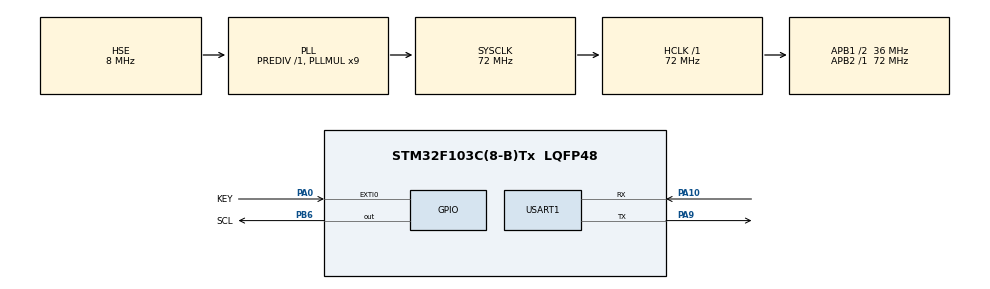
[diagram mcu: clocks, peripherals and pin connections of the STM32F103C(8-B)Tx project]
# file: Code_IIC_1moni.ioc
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Mcu.Family=STM32F1
Mcu.Name=STM32F103C(8-B)Tx
Mcu.Package=LQFP48
NVIC.EXTI0_IRQn=true\:1\:0\:true\:true\:true\:1\:true\:true
NVIC.PriorityGroup=NVIC_PRIORITYGROUP_4
NVIC.USART1_IRQn=true\:0\:0\:false\:true\:true\:2\:true\:true
PA0-WKUP.GPIO_Label=KEY
PA0-WKUP.Signal=GPXTI0
PA10.Mode=Asynchronous
PA10.Signal=USART1_RX
PA9.Mode=Asynchronous
PA9.Signal=USART1_TX
PB6.GPIO_Label=SCL
PB6.GPIO_Speed=GPIO_SPEED_FREQ_HIGH
PB6.Signal=GPIO_Output
PD0-OSC_IN.Mode=HSE-External-Oscillator
PD0-OSC_IN.Signal=RCC_OSC_IN
PD1-OSC_OUT.Mode=HSE-External-Oscillator
PD1-OSC_OUT.Signal=RCC_OSC_OUT
ProjectManager.HeapSize=0x200
ProjectManager.StackSize=0x400
ProjectManager.TargetToolchain=MDK-ARM V5.32
RCC.AHBFreq_Value=72000000
RCC.APB1CLKDivider=RCC_HCLK_DIV2
RCC.APB1Freq_Value=36000000
RCC.APB1TimFreq_Value=72000000
RCC.APB2Freq_Value=72000000
RCC.APB2TimFreq_Value=72000000
RCC.HCLKFreq_Value=72000000
RCC.PLLMUL=RCC_PLL_MUL9
RCC.PLLSourceVirtual=RCC_PLLSOURCE_HSE
RCC.SYSCLKFreq_VALUE=72000000
RCC.SYSCLKSource=RCC_SYSCLKSOURCE_PLLCLK
RCC.USBFreq_Value=72000000
USART1.VirtualMode=VM_ASYNC
VP_SYS_VS_ND.Mode=No_Debug
board=custom

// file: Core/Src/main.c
/* USER CODE BEGIN Header */
/**
  ******************************************************************************
  * @file           : main.c
  * @brief          : Main program body
  ******************************************************************************
  * @attention
  *
  * Copyright (c) 2022 STMicroelectronics.
  * All rights reserved.
  *
  * This software is licensed under terms that can be found in the LICENSE file
  * in the root directory of this software component.
  * If no LICENSE file comes with this software, it is provided AS-IS.
  *
  ******************************************************************************
  */
/* USER CODE END Header */
#include "main.h"
#include "usart.h"
#include "gpio.h"

/* USER CODE BEGIN Includes */
#include "eeprom.h"
#include<stdio.h>
#include "i2c.h"
#include "timer.h"
#include "string.h"
/* USER CODE END Includes */

void SystemClock_Config(void);
static void MX_NVIC_Init(void);

int main(void)
{
  /* USER CODE BEGIN 1 */
char tx_buffer[20]={"Hello IIC"};
char rx_buffer[20]={0};
  /* USER CODE END 1 */

  /* MCU Configuration--------------------------------------------------------*/

  /* Reset of all peripherals, Initializes the Flash interface and the Systick. */
  HAL_Init();

  /* Configure the system clock */
  SystemClock_Config();

  /* Initialize all configured peripherals */
  MX_GPIO_Init();
  MX_USART1_UART_Init();

  /* Initialize interrupts */
  MX_NVIC_Init();
  /* USER CODE BEGIN 2 */
printf("*****************\r\n");
printf("i2c test\r\n");
printf("*****************\r\n");
  /* USER CODE END 2 */

  /* Infinite loop */
  while (1)
  {

    /* USER CODE BEGIN 3 */
      if(get_KeyValue()){
      //读写字符串并打印
            EEPROM_Write_NByte(0,(uint8_t *)tx_buffer,sizeof(tx_buffer));
            HAL_Delay(1);

            EEPROM_Read_NByte(0,(uint8_t *)rx_buffer,sizeof(rx_buffer));
            HAL_Delay(1);

          printf("EEPROM Write :%s\r\n",rx_buffer);
          printf("EEPROM Read :%s\r\n",rx_buffer);

          //清空接收buffer
          memset(rx_buffer,0,sizeof(rx_buffer));
      }
  }
  /* USER CODE END 3 */
}

void SystemClock_Config(void)
{
  RCC_OscInitTypeDef RCC_OscInitStruct = {0};
  RCC_ClkInitTypeDef RCC_ClkInitStruct = {0};

  /** Initializes the RCC Oscillators according to the specified parameters
  * in the RCC_OscInitTypeDef structure.
  */
  RCC_OscInitStruct.OscillatorType = RCC_OSCILLATORTYPE_HSE;
  RCC_OscInitStruct.HSEState = RCC_HSE_ON;
  RCC_OscInitStruct.HSEPredivValue = RCC_HSE_PREDIV_DIV1;
  RCC_OscInitStruct.HSIState = RCC_HSI_ON;
  RCC_OscInitStruct.PLL.PLLState = RCC_PLL_ON;
  RCC_OscInitStruct.PLL.PLLSource = RCC_PLLSOURCE_HSE;
  RCC_OscInitStruct.PLL.PLLMUL = RCC_PLL_MUL9;
  if (HAL_RCC_OscConfig(&RCC_OscInitStruct) != HAL_OK)
  {
    Error_Handler();
  }
  /** Initializes the CPU, AHB and APB buses clocks
  */
  RCC_ClkInitStruct.ClockType = RCC_CLOCKTYPE_HCLK|RCC_CLOCKTYPE_SYSCLK
                              |RCC_CLOCKTYPE_PCLK1|RCC_CLOCKTYPE_PCLK2;
  RCC_ClkInitStruct.SYSCLKSource = RCC_SYSCLKSOURCE_PLLCLK;
  RCC_ClkInitStruct.AHBCLKDivider = RCC_SYSCLK_DIV1;
  RCC_ClkInitStruct.APB1CLKDivider = RCC_HCLK_DIV2;
  RCC_ClkInitStruct.APB2CLKDivider = RCC_HCLK_DIV1;

  if (HAL_RCC_ClockConfig(&RCC_ClkInitStruct, FLASH_LATENCY_2) != HAL_OK)
  {
    Error_Handler();
  }
}

/**
  * @brief NVIC Configuration.
  * @retval None
  */
static void MX_NVIC_Init(void)
{
  /* EXTI0_IRQn interrupt configuration */
  HAL_NVIC_SetPriority(EXTI0_IRQn, 1, 0);
  HAL_NVIC_EnableIRQ(EXTI0_IRQn);
  /* USART1_IRQn interrupt configuration */
  HAL_NVIC_SetPriority(USART1_IRQn, 0, 0);
  HAL_NVIC_EnableIRQ(USART1_IRQn);
}

void Error_Handler(void)
{
  __disable_irq();
  while (1)
  {
  }
}
